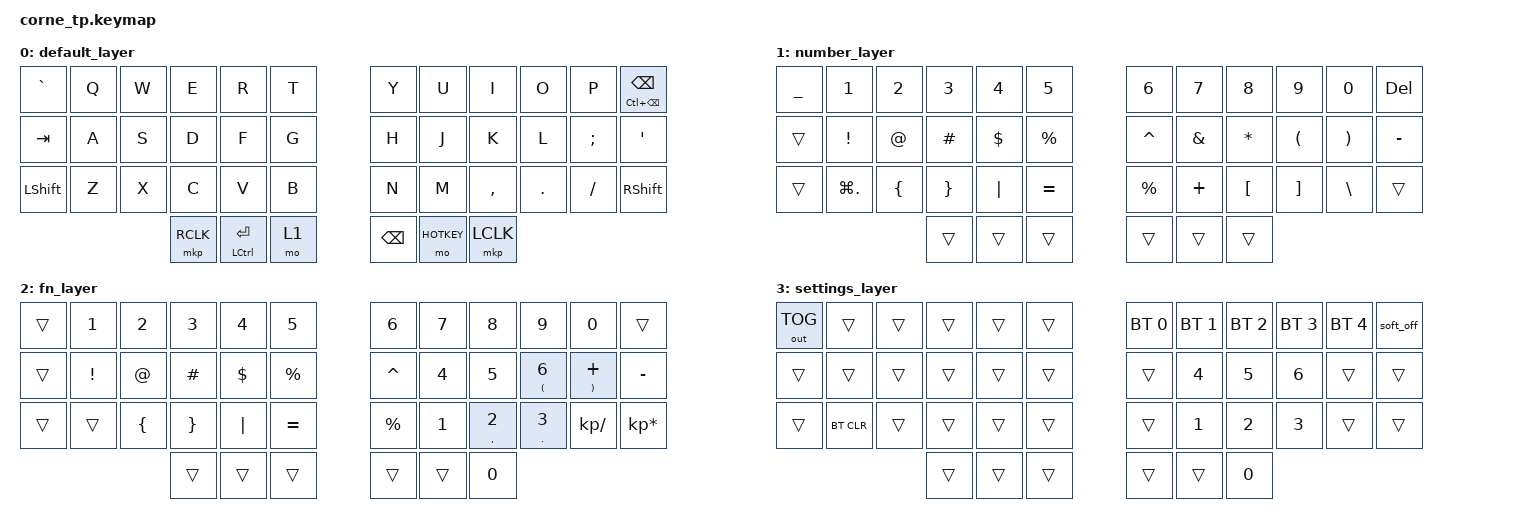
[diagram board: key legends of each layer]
/*
 * Copyright (c) 2023 The ZMK Contributors
 *
 * SPDX-License-Identifier: MIT
 */

#include <behaviors.dtsi>
#include <dt-bindings/zmk/keys.h>
#include <dt-bindings/zmk/bt.h>
#include <dt-bindings/zmk/outputs.h>

#define ZMK_POINTING_DEFAULT_SCRL_VAL 100
#include <dt-bindings/zmk/pointing.h>

#define DEFAULT 0
#define NUMBER  1
#define FN  2
#define HOTKEY  3

/ {

    keymap {
        compatible = "zmk,keymap";

        default_layer {
            bindings = <
// ╭───────────┬───────────┬───────────┬───────────┬───────────┬───────────╮   ╭───────────┬───────────┬───────────┬───────────┬───────────┬───────────╮
    &kp GRAVE   &kp Q       &kp W       &kp E       &kp R       &kp T          &kp Y       &kp U       &kp I       &kp O       &kp P       &mt LC(BSPC) BSPC
    &kp TAB     &kp A       &kp S       &kp D       &kp F       &kp G          &kp H       &kp J       &kp K       &kp L       &kp SEMI    &kp SQT
    &kp LSHIFT  &kp Z       &kp X       &kp C       &kp V       &kp B          &kp N       &kp M       &kp COMMA   &kp DOT     &kp FSLH    &kp RSHFT
// ╰───────────┴───────────┴───────────┤                                                                           ├───────────┴───────────┴───────────╯
                                         &mkp RCLK  &mt LCTRL RETURN &mo 1     &kp BACKSPACE &mo HOTKEY       &mkp LCLK
//                                      ╰───────────┴───────────┴───────────╯   ╰───────────┴───────────┴───────────╯
            >;
        };

        number_layer {
            bindings = <
// ╭───────────┬───────────┬───────────┬───────────┬───────────┬───────────╮   ╭───────────┬───────────┬───────────┬───────────┬───────────┬───────────╮
    &kp UNDER   &kp N1      &kp N2      &kp N3      &kp N4      &kp N5         &kp N6      &kp N7      &kp N8      &kp N9      &kp N0      &kp DEL
    &trans      &kp EXCL    &kp AT      &kp HASH    &kp DLLR    &kp PRCNT      &kp CARET   &kp AMPERSAND &kp STAR  &kp LPAR    &kp RPAR    &kp MINUS
    &trans      &kp LG(DOT) &kp LEFT_BRACE &kp RIGHT_BRACE &kp PIPE &kp EQUAL  &kp PRCNT   &kp PLUS    &kp LBKT   &kp RBKT    &kp BACKSLASH &trans
// ╰───────────┴───────────┴───────────┤                                                                           ├───────────┴───────────┴───────────╯
                                         &trans      &trans      &trans         &trans      &trans      &trans
//                                      ╰───────────┴───────────┴───────────╯   ╰───────────┴───────────┴───────────╯
            >;
        };

        fn_layer {
            bindings = <
// ╭───────────┬───────────┬───────────┬───────────┬───────────┬───────────╮   ╭───────────┬───────────┬───────────┬───────────┬───────────┬───────────╮
    &trans      &kp N1      &kp N2      &kp N3      &kp N4      &kp N5         &kp N6      &kp N7      &kp N8      &kp N9      &kp N0      &trans
    &trans      &kp EXCL    &kp AT      &kp HASH    &kp DLLR    &kp PRCNT      &kp CARET   &kp N4      &kp N5      &mt LPAR N6 &mt RPAR PLUS &kp MINUS
    &trans      &trans      &kp LEFT_BRACE &kp RIGHT_BRACE &kp PIPE &kp EQUAL  &kp PRCNT   &kp N1      &mt COMMA N2 &mt DOT N3 &kp KP_DIVIDE &kp KP_MULTIPLY
// ╰───────────┴───────────┴───────────┤                                                                           ├───────────┴───────────┴───────────╯
                                         &trans      &trans      &trans         &trans      &trans      &kp N0
//                                      ╰───────────┴───────────┴───────────╯   ╰───────────┴───────────┴───────────╯
            >;
        };

        settings_layer {
            bindings = <
// ╭───────────┬───────────┬───────────┬───────────┬───────────┬───────────╮   ╭───────────┬───────────┬───────────┬───────────┬───────────┬───────────╮
    &out OUT_TOG &trans     &trans      &trans      &trans      &trans          &bt BT_SEL 0 &bt BT_SEL 1 &bt BT_SEL 2 &bt BT_SEL 3 &bt BT_SEL 4 &soft_off
    &trans      &trans      &trans      &trans      &trans      &trans          &trans      &kp N4      &kp N5      &kp N6      &trans      &trans
    &trans      &bt BT_CLR  &trans      &trans      &trans      &trans          &trans      &kp N1      &kp N2      &kp N3      &trans      &trans
// ╰───────────┴───────────┴───────────┤                                                                           ├───────────┴───────────┴───────────╯
                                         &trans      &trans      &trans         &trans      &trans      &kp N0
//                                      ╰───────────┴───────────┴───────────╯   ╰───────────┴───────────┴───────────╯
            >;
        };

    };

};
